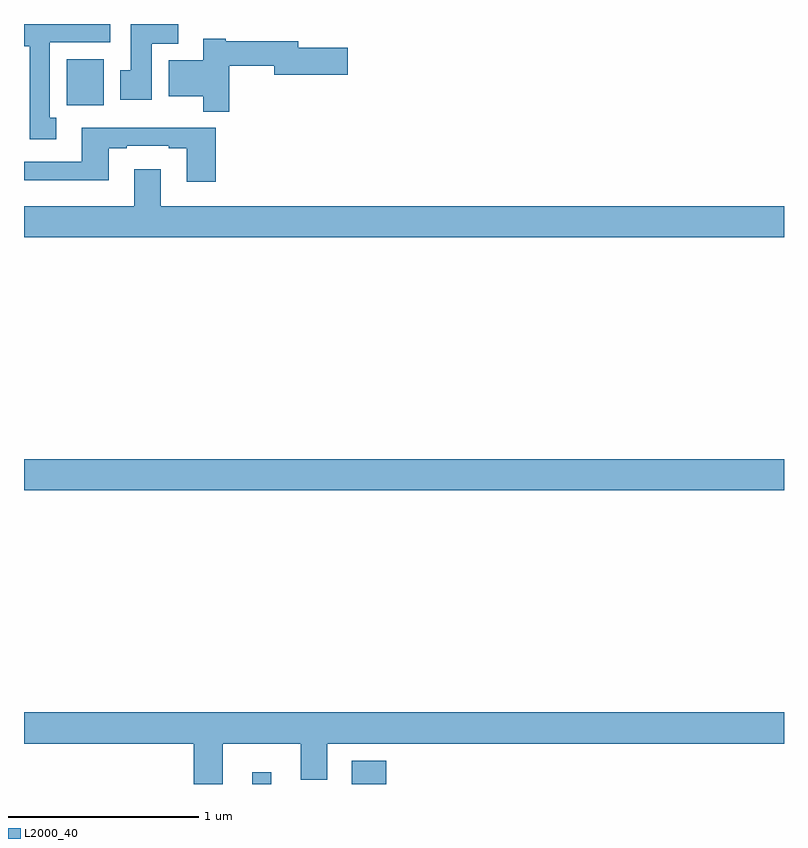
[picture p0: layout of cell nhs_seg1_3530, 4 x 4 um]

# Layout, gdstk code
import gdstk
lib = gdstk.Library(unit=1e-6, precision=1e-09)
def R(c, l, rs):  # rectangles x0, y0, x1, y1
    for r in rs: c.add(gdstk.rectangle(r[:2], r[2:], *l))
def P(c, l, *ps):  # polygons
    for p in ps: c.add(gdstk.Polygon(p, *l))
L2000_40 = (2000, 40)

nhs_seg1_3530 = lib.new_cell('nhs_seg1_3530')
R(nhs_seg1_3530, L2000_40, [(304.202,538.199,304.3,538.261), (304.724,538.199,304.906,538.321), (303,539.744,307,539.908), (303.224,541.772,303.421,542.014)])
P(nhs_seg1_3530, L2000_40, [(303.169,541.706),(303.136,541.706),(303.136,542.102),(303.454,542.102),(303.454,542.199),(303,542.199),(303,542.082),(303.029,542.082),(303.029,541.593),(303.169,541.593)],
  [(303.673,542.096),(303.812,542.096),(303.812,542.199),(303.563,542.199),(303.563,541.956),(303.506,541.956),(303.506,541.8),(303.673,541.8)],
  [(304.079,541.978),(304.316,541.978),(304.316,541.931),(304.705,541.931),(304.705,542.073),(304.444,542.073),(304.444,542.107),(304.062,542.107),(304.062,542.122),(303.944,542.122),(303.944,542.008),(303.761,542.008),(303.761,541.82),(303.944,541.82),(303.944,541.738),(304.079,541.738)],
  [(304.01,541.653),(303.893,541.653),(303.893,541.654),(303.305,541.654),(303.305,541.473),(303,541.473),(303,541.376),(303.445,541.376),(303.445,541.545),(303.541,541.545),(303.541,541.557),(303.761,541.557),(303.761,541.545),(303.857,541.545),(303.857,541.368),(304.01,541.368)],
  [(307,541.24),(303.721,541.24),(303.721,541.435),(303.581,541.435),(303.581,541.24),(303,541.24),(303,541.076),(307,541.076)],
  [(304.045,538.412),(304.457,538.412),(304.457,538.222),(304.597,538.222),(304.597,538.412),(307,538.412),(307,538.576),(303,538.576),(303,538.412),(303.893,538.412),(303.893,538.199),(304.045,538.199)])

lib.write_gds('nhs_seg1_3530.gds')
